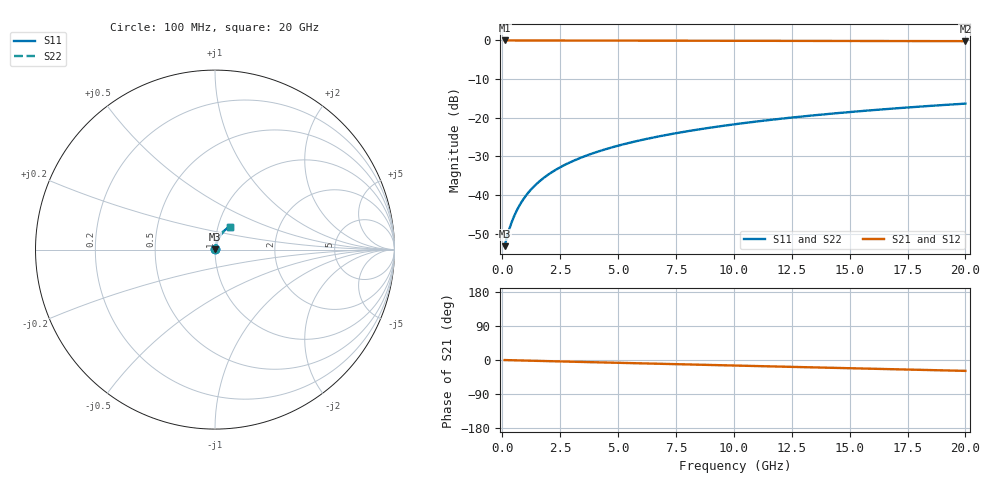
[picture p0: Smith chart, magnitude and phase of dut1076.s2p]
! Touchstone file exported from HFSS 2026.1.0
!  File:  C:/ffzhzh/LocalFiles/Ansys_Project_Files/temp_train_TMRDL_1076_1783160829_22436.aedt
!  Generated:  06:28:19 PM Jul  4, 2026
!  Design:  TMRDL
!  Project:  temp_train_TMRDL_1076_1783160829_22436
! Variables:
!  h_bsmrdl = 2um
!  h_ox = 20um
!  h_rdl = 5um
!  h_sub = 80um
!  h_tmrdl = 5.44um
!  h_tsv = 80um
!  h_via = 3um
!  l_bsmrdl = 300um
!  l_sub = 883.35um
!  l_tmrdl = 483.35um
!  m_sub = 200um
!  pitch = 29.8um
!  r_tsv = 6um
!  s_tmrdl = 10um
!  w_bsmrdl = 18um
!  w_sub = 500um
!  w_tmrdl = 18.72um
!  x_tsv_center1 = 492.71um
!  x_tsv_center2 = 810.71um
!  x_tsv_center3 = 1312.78um
!  x_tsv_center4 = 1630.78um
!  x_tsv_center5 = 2132.85um
!  x_tsv_center6 = 2450.85um
# GHz S MA R 50.000000
! Terminal data exported
! Port[1] = TM_RDL1_1_T1
! Port[2] = TM_RDL1_1_T2
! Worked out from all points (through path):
!   200 points, 100 MHz to 20 GHz, reference 50 ohm
!   highest |S21| = -0.02 dB at 100 MHz (marker M1); lowest = -0.2 dB at 20 GHz (marker M2)
!   group delay of S21, straight-line fit = 3.98 ps
!   lowest |S11| = -53.3 dB at 100 MHz (marker M3), VSWR 1.00, Z = 50.2 + j0.113 ohm
!   |S11| at or under -10 dB: start of sweep to end of sweep
!   |S22| runs from -53.3 to -16.4 dB; largest |S21 - S12| = 4.2e-15
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0.1  0.00217 31.2  0.9981 -0.2  0.9981 -0.2  0.00217 31.2
! Gamma 0 0 0 0
! Port Impedance 50 0 50 0
0.2  0.002863 45.4  0.998 -0.3  0.998 -0.3  0.002863 45.4
0.3  0.003597 54.4  0.9978 -0.5  0.9978 -0.5  0.003598 54.4
0.4  0.004386 60.6  0.9977 -0.6  0.9977 -0.6  0.004387 60.6
0.6  0.006068 67.9  0.9976 -0.9  0.9976 -0.9  0.006068 67.9
0.7  0.006939 70.2  0.9975 -1.1  0.9975 -1.1  0.006939 70.2
0.9  0.008707 73.2  0.9974 -1.4  0.9974 -1.4  0.008707 73.2
1.2  0.01138 75.6  0.9973 -1.8  0.9973 -1.8  0.01138 75.6
1.4  0.01317 76.5  0.9971 -2.1  0.9971 -2.1  0.01317 76.5
1.7  0.01583 77.2  0.9969 -2.6  0.9969 -2.6  0.01583 77.2
2.2  0.0202 77.6  0.9965 -3.3  0.9965 -3.3  0.0202 77.6
2.8  0.02534 77.5  0.996 -4.2  0.996 -4.2  0.02534 77.5
3.5  0.03119 77.0  0.9953 -5.2  0.9953 -5.2  0.03119 77.0
4.2  0.03692 76.4  0.9946 -6.3  0.9946 -6.3  0.03692 76.4
5  0.04336 75.6  0.9938 -7.4  0.9938 -7.4  0.04336 75.6
5.9  0.05048 74.6  0.9929 -8.7  0.9929 -8.7  0.05048 74.6
6.8  0.05751 73.6  0.992 -10.0  0.992 -10.0  0.05751 73.6
8.3  0.06904 71.9  0.9905 -12.2  0.9905 -12.2  0.06904 71.9
10.1  0.08261 69.8  0.9887 -14.7  0.9887 -14.7  0.08261 69.8
13.4  0.1068 65.7  0.9852 -19.4  0.9852 -19.4  0.1068 65.7
16.7  0.13 61.5  0.9815 -24.1  0.9815 -24.1  0.13 61.5
20  0.152 57.3  0.9775 -28.7  0.9775 -28.7  0.152 57.2
